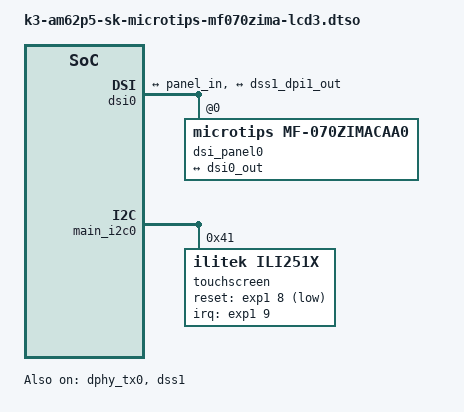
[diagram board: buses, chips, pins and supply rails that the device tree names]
// SPDX-License-Identifier: GPL-2.0-or-later OR MIT
/**
 * Microtips integrated DSI panel (MF-070ZIMACAA0) and touch DT overlay for AM62P5-SK
 *
 * AM62P5-SK EVM: https://www.ti.com/tool/SK-AM62P-LP
 * Panel: https://simplespec.microtipsusa.com/uploads/spec/datasheetFile/3004/13-070ZIMACAA0-S_V1.1_20231120.pdf
 *
 * Copyright (C) 2024 Texas Instruments Incorporated - http://www.ti.com/
 */

/dts-v1/;
/plugin/;

#include <dt-bindings/gpio/gpio.h>
#include <dt-bindings/interrupt-controller/irq.h>

&dphy_tx0 {
	status = "okay";
};

&dss1 {
	status = "okay";
};

&dss1_ports {
	#address-cells = <1>;
	#size-cells = <0>;

	/* DSS1-VP1: DSI Output */
	port@1 {
		reg = <1>;

		dss1_dpi1_out: endpoint {
			remote-endpoint = <&dsi0_in>;
		};
	};
};

&dsi0 {
	status = "okay";
	#address-cells = <1>;
	#size-cells = <0>;

	ports {
		#address-cells = <1>;
		#size-cells = <0>;

		port@0 {
			reg = <0>;

			dsi0_out: endpoint {
				remote-endpoint = <&panel_in>;
			};
		};

		port@1 {
			reg = <1>;

			dsi0_in: endpoint {
				remote-endpoint = <&dss1_dpi1_out>;
			};
		};
	};

	dsi_panel0: panel-dsi@0 {
		compatible = "microtips,mf-070zimacaa0", "ilitek,ili9881c";
		reg = <0>;

		port {
			panel_in: endpoint {
				remote-endpoint = <&dsi0_out>;
			};
		};
	};
};

&main_i2c0 {
	#address-cells = <1>;
	#size-cells = <0>;

	touchscreen@41 {
		compatible = "ilitek,ili251x";
		reg = <0x41>;
		reset-gpios = <&exp1 8 GPIO_ACTIVE_LOW>;
		interrupt-parent = <&exp1>;
		interrupts = <9 IRQ_TYPE_EDGE_FALLING>;
	};
};
